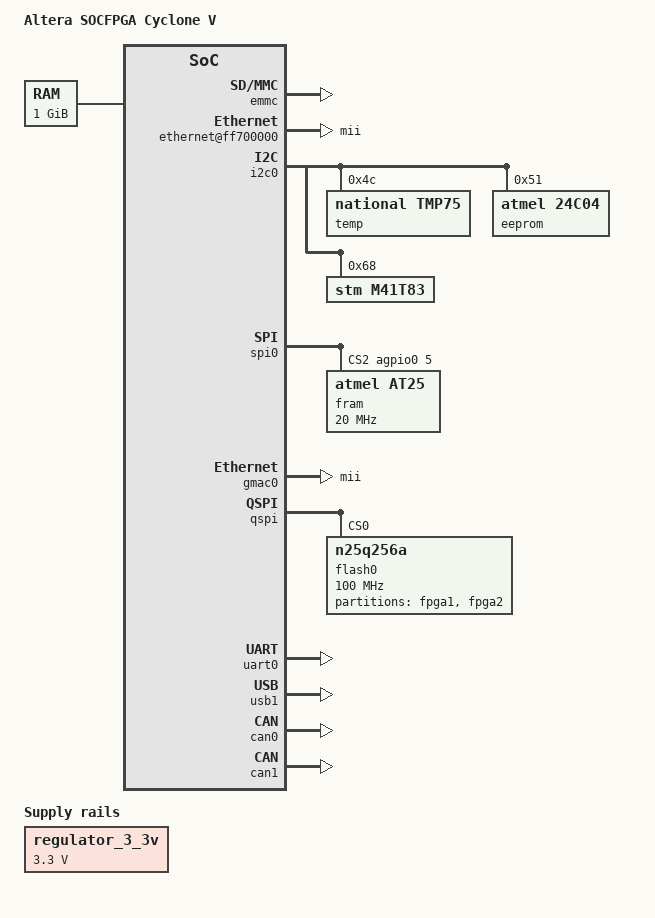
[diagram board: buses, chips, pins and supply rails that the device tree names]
/*
 * Copyright Altera Corporation (C) 2015. All rights reserved.
 *
 * This program is free software; you can redistribute it and/or modify
 * it under the terms and conditions of the GNU General Public License,
 * version 2, as published by the Free Software Foundation.
 *
 * This program is distributed in the hope it will be useful, but WITHOUT
 * ANY WARRANTY; without even the implied warranty of MERCHANTABILITY or
 * FITNESS FOR A PARTICULAR PURPOSE.  See the GNU General Public License for
 * more details.
 *
 * You should have received a copy of the GNU General Public License along with
 * this program.  If not, see <http://www.gnu.org/licenses/>.
 */

#include "socfpga_cyclone5.dtsi"

/ {
	soc {
		emmc: dwmmc0@ff704000 {
			compatible = "altr,socfpga-dw-mshc";
			reg = <0xff704000 0x1000>;
			interrupts = <0 139 4>;
			fifo-depth = <0x400>;
			#address-cells = <1>;
			#size-cells = <0>;
			clocks = <&l4_mp_clk>, <&sdmmc_clk_divided>;
			clock-names = "biu", "ciu";
			resets = <&rst SDMMC_RESET>;
			altr,sysmgr-syscon = <&sysmgr 0x108 3>;
			
			num-slots = <1>;
			supports-highspeed;
			broken-cd;
			altr,dw-mshc-ciu-div = <3>;
			altr,dw-mshc-sdr-timing = <0 3>;

			slot@0 {
				cd-gpios = <&gpio1 18 0>;
				reg = <0>;
				bus-width = <4>;
			};
		};
	};
};

/ {
	model = "Altera SOCFPGA Cyclone V";
	compatible = "altr,socfpga-cyclone5", "altr,socfpga";

	chosen {
		bootargs = "console=ttyS0,115200";
	};

	memory {
		name = "memory";
		device_type = "memory";
		reg = <0x0 0x40000000>; /* 1GB */
	};

	aliases {
		ethernet0 = &gmac0;
		ethernet1 = &gmac1;
		mmc0 = &emmc;
		mmc1 = &ulti_sdc_0;
		serial0 = &uart0;
		serial1 = &uart1;
	};

	regulator_3_3v: 3-3-v-regulator {
		compatible = "regulator-fixed";
		regulator-name = "3.3V";
		regulator-min-microvolt = <3300000>;
		regulator-max-microvolt = <3300000>;
	};

	ulti_sdc_0: ulti_sdc@ff230000 {
		compatible = "EXOR,ulti_sdc-13.1", "EXOR,ulti_sdc-1.0", "exor,ulti_sdc-1.0", "sdhci-ultimmc";
		reg = < 0xFF230000 0x0000ffff >;
		interrupt-parent = <&intc>;
		interrupts = < 0 43 4 >;
	};

	ethernet@ff700000 {
		phy-mode = "mii";
		phy-addr = <0x00>;
		status = "okay";
	};
		
	agpio0: gpio@0xff210010 {
		compatible = "altr,pio-1.0";
		reg = <0xff210010 0x10>;
		interrupts = <0 44 4>;
		width=<32>;
		altr,interrupt_type = < 4 >;
		#gpio-cells = <2>;
		gpio-controller;
		#interrupt-cells = <1>;
		interrupt-controller;
	};
};

&i2c0 {
	status = "okay";
	speed-mode = <0>;
	i2c-sda-falling-time-ns = <10000>;
	i2c-scl-falling-time-ns = <10000>;
	
	temp@48 {
		compatible = "national,tmp75";
		reg = <0x4C>;
	};
	
	eeprom@51 {
		compatible = "atmel,24c04";
		reg = <0x51>;
		pagesize = <16>;
		size = <256>;
	};

	m41t83@68 {
		compatible = "stm,m41t83";
		reg = <0x68>;
	};
};

&spi0 {
	status = "okay";
	num-cs = <4>;
	bus-num = <0>;
	cs-gpios = <&agpio0 3 0>, <&agpio0 4 0>, <&agpio0 5 0>, <&agpio0 6 0>;

	fram: at25@2 {
		compatible = "atmel,at25", "st,m95256";
		reg = <2>;
		spi-max-frequency = <20000000>;
		pagesize = <64>;
		size = <65536>;
		address-width = <16>;
	};
};

&gmac0 {
	phy-mode = "mii";
	snps,phy-addr = <0x00>;
	status = "okay";
};

&gmac1 {
	status = "disabled";
};

&gpio0 {
	status = "okay";
};

&gpio1 {
	status = "okay";
};

&gpio2 {
	status = "okay";
};

&qspi {
	status = "okay";
	flash0: n25q256a@0 {
		#address-cells = <1>;
		#size-cells = <1>;
		compatible = "n25q256a";
		reg = <0>;      /* chip select */
		spi-max-frequency = <100000000>;
		m25p,fast-read;
		page-size = <256>; 
		block-size = <16>; /* 2^16, 64KB */
		read-delay = <4>;  /* delay value in read data capture register */
		cdns,tshsl-ns = <50>;
		cdns,tsd2d-ns = <50>;
		cdns,tchsh-ns = <4>;
		cdns,tslch-ns = <4>;

		partition@qspi-fpga1 {
		/* 10MB for raw FPGA1 image. */
		label = "fpga1";
		reg = <0x0 0xa00000>;
		};

		partition@qspi-fpga2 {
		/* 10MB for raw FPGA2 image. */
		label = "fpga2";
		reg = <0xa00000 0xa00000>;
		};
	};
};

&uart0 {
	status = "okay";
	rts-gpio = <&porta 22 0>;
	mode-gpio = <&porta 24 0>;
	rxen-gpio = <&portb 23 0>;
	rs485-rts-active-high;
};

&usb1 {
	status = "okay";
};

&can0 {
  status = "okay";
};

&can1 {
  status = "okay";
};
